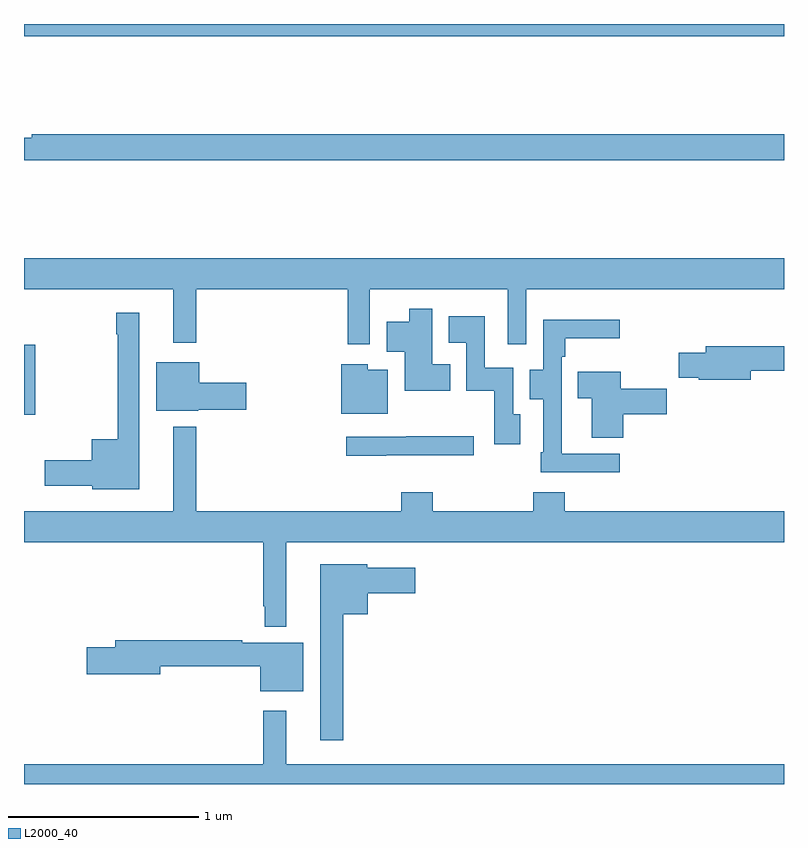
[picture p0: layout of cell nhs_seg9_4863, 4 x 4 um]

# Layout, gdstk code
import gdstk
lib = gdstk.Library(unit=1e-6, precision=1e-09)
def R(c, l, rs):  # rectangles x0, y0, x1, y1
    for r in rs: c.add(gdstk.rectangle(r[:2], r[2:], *l))
def P(c, l, *ps):  # polygons
    for p in ps: c.add(gdstk.Polygon(p, *l))
L2000_40 = (2000, 40)

nhs_seg9_4863 = lib.new_cell('nhs_seg9_4863')
R(nhs_seg9_4863, L2000_40, [(393,1178.444,393.06,1178.812), (393,1180.436,397,1180.5)])
P(nhs_seg9_4863, L2000_40, [(397,1179.92),(393.04,1179.92),(393.04,1179.901),(393,1179.901),(393,1179.784),(397,1179.784)],
  [(394.821,1179.104),(395.547,1179.104),(395.547,1178.814),(395.643,1178.814),(395.643,1179.104),(397,1179.104),(397,1179.268),(393,1179.268),(393,1179.104),(393.785,1179.104),(393.785,1178.823),(393.907,1178.823),(393.907,1179.104),(394.705,1179.104),(394.705,1178.814),(394.821,1178.814)],
  [(395.243,1178.71),(395.149,1178.71),(395.149,1179.001),(395.027,1179.001),(395.027,1178.932),(394.91,1178.932),(394.91,1178.774),(395.003,1178.774),(395.003,1178.57),(395.243,1178.57)],
  [(393.607,1178.98),(393.486,1178.98),(393.486,1178.867),(393.493,1178.867),(393.493,1178.314),(393.356,1178.314),(393.356,1178.204),(393.108,1178.204),(393.108,1178.069),(393.36,1178.069),(393.36,1178.051),(393.607,1178.051)],
  [(395.611,1178.445),(395.574,1178.445),(395.574,1178.692),(395.424,1178.692),(395.424,1178.962),(395.235,1178.962),(395.235,1178.822),(395.328,1178.822),(395.328,1178.57),(395.476,1178.57),(395.476,1178.289),(395.611,1178.289)],
  [(396.136,1178.238),(395.83,1178.238),(395.83,1178.435),(395.829,1178.435),(395.829,1178.75),(395.849,1178.75),(395.849,1178.846),(396.136,1178.846),(396.136,1178.944),(395.733,1178.944),(395.733,1178.679),(395.663,1178.679),(395.663,1178.524),(395.733,1178.524),(395.733,1178.245),(395.721,1178.245),(395.721,1178.142),(396.136,1178.142)],
  [(396.826,1178.674),(397,1178.674),(397,1178.803),(396.587,1178.803),(396.587,1178.769),(396.445,1178.769),(396.445,1178.639),(396.55,1178.639),(396.55,1178.627),(396.826,1178.627)],
  [(393.918,1178.471),(394.171,1178.471),(394.171,1178.613),(393.922,1178.613),(393.922,1178.719),(393.695,1178.719),(393.695,1178.465),(393.918,1178.465)],
  [(394.915,1178.68),(394.81,1178.68),(394.81,1178.71),(394.67,1178.71),(394.67,1178.45),(394.915,1178.45)],
  [(396.155,1178.447),(396.383,1178.447),(396.383,1178.581),(396.142,1178.581),(396.142,1178.671),(395.914,1178.671),(395.914,1178.531),(395.987,1178.531),(395.987,1178.323),(396.155,1178.323)],
  [(394.381,1177.772),(397,1177.772),(397,1177.936),(395.846,1177.936),(395.846,1178.035),(395.681,1178.035),(395.681,1177.936),(395.15,1177.936),(395.15,1178.035),(394.985,1178.035),(394.985,1177.936),(393.907,1177.936),(393.907,1178.38),(393.785,1178.38),(393.785,1177.936),(393,1177.936),(393,1177.772),(394.26,1177.772),(394.26,1177.435),(394.266,1177.435),(394.266,1177.328),(394.381,1177.328)],
  [(394.907,1178.231),(395.368,1178.231),(395.368,1178.331),(395.011,1178.331),(395.011,1178.328),(394.695,1178.328),(394.695,1178.227),(394.907,1178.227)],
  [(394.681,1177.394),(394.81,1177.394),(394.81,1177.505),(395.059,1177.505),(395.059,1177.639),(394.806,1177.639),(394.806,1177.657),(394.559,1177.657),(394.559,1176.729),(394.681,1176.729)],
  [(394.471,1177.243),(394.148,1177.243),(394.148,1177.256),(393.479,1177.256),(393.479,1177.22),(393.33,1177.22),(393.33,1177.078),(393.718,1177.078),(393.718,1177.12),(394.244,1177.12),(394.244,1176.989),(394.471,1176.989)],
  [(397,1176.604),(394.381,1176.604),(394.381,1176.886),(394.26,1176.886),(394.26,1176.604),(393,1176.604),(393,1176.5),(397,1176.5)])

lib.write_gds('nhs_seg9_4863.gds')
